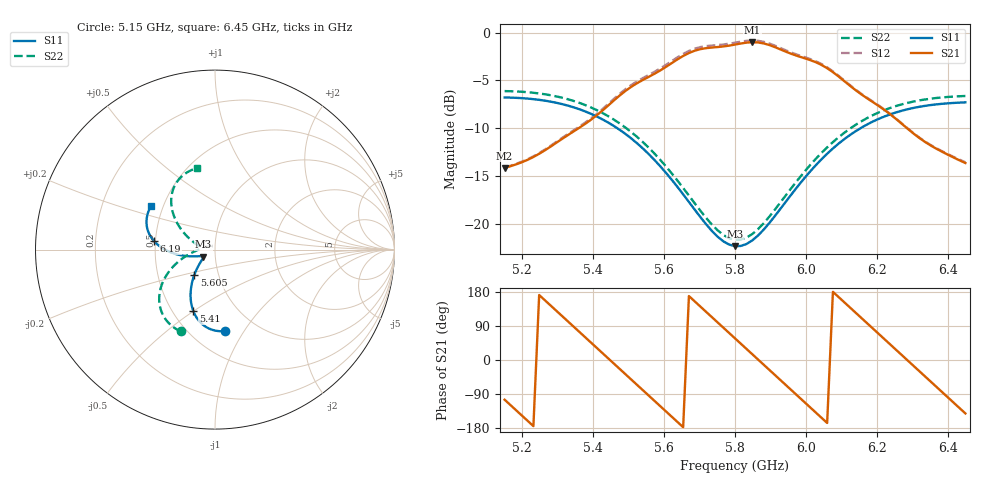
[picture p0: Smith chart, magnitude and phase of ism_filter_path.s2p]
! Generated RF sample for VNA Touchstone diagnostics
! Source: local sample generator
# GHZ S RI R 50
! freq S11 S12 S21 S22
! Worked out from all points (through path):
!   81 points, 5.15 GHz to 6.45 GHz, reference 50 ohm
!   highest |S21| = -1.00 dB at 5.849 GHz (marker M1); lowest = -14.2 dB at 5.15 GHz (marker M2)
!   group delay of S21, straight-line fit = 2.39 ns
!   lowest |S11| = -22.4 dB at 5.8 GHz (marker M3), VSWR 1.16, Z = 43.8 - j3.49 ohm
!   |S11| at or under -10 dB: 5.467 GHz to 6.155 GHz (687.2 MHz wide, 11.8 % of centre)
!   |S22| runs from -21.7 to -6.1 dB; largest |S21 - S12| = 1.1
!   S11 on the Smith chart (normalised r, x): 5.15 GHz: 0.72, -0.83; 5.41 GHz: 0.63, -0.50; 5.605 GHz: 0.76, -0.23; 6.19 GHz: 0.49, +0.05; 6.45 GHz: 0.43, +0.25
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5.15  0.0548 -0.4543  -0.0498 -0.1891  0.1487 -0.1288  -0.191 -0.4558
5.26375  -0.0352 -0.439  -0.2237 0.0923  -0.1791 -0.1662  -0.2757 -0.3875
5.3775  -0.1069 -0.3716  0.1671 0.2882  -0.2019 0.2715  -0.311 -0.2787
5.41  -0.1204 -0.3433  0.3132 0.1956  -0.0597 0.3709  -0.3086 -0.2432
5.49125  -0.1361 -0.2612  0.3919 -0.3038  0.4368 0.2563  -0.2777 -0.155
5.54  -0.1327 -0.2089  0.1016 -0.5561  0.5682 -0.1088  -0.2447 -0.1076
5.58875  -0.1213 -0.159  -0.3311 -0.5403  0.399 -0.5122  -0.2051 -0.0678
5.605  -0.1162 -0.1435  -0.4716 -0.4641  0.2777 -0.6187  -0.1912 -0.0566
5.65375  -0.0986 -0.1025  -0.7545 -0.0353  -0.2274 -0.7405  -0.1508 -0.0294
5.68625  -0.0868 -0.0804  -0.7278 0.3429  -0.579 -0.5878  -0.1267 -0.0165
5.735  -0.0721 -0.0562  -0.3255 0.7702  -0.8548 -0.0626  -0.0986 -0.0034
5.8  -0.065 -0.0396  0.4706 0.7274  -0.5603 0.687  -0.0819 0.00756
5.84875  -0.073 -0.0363  0.8601 0.2343  0.0324 0.9099  -0.0866 0.0164
5.88125  -0.0856 -0.0366  0.8569 -0.1927  0.4416 0.7793  -0.0974 0.0249
5.93  -0.1146 -0.0378  0.4727 -0.6635  0.7826 0.2728  -0.1227 0.0441
5.97875  -0.1539 -0.0365  -0.0838 -0.7478  0.7078 -0.2863  -0.1545 0.0728
6.0275  -0.1995 -0.0296  -0.5228 -0.4666  0.3191 -0.6334  -0.1874 0.1111
6.10875  -0.2772 -0.00115  -0.4915 0.2616  -0.3757 -0.4172  -0.2302 0.1914
6.19  -0.3398 0.0475  0.0585 0.4277  -0.4061 0.1538  -0.2441 0.2788
6.23875  -0.3645 0.0833  0.284 0.2412  -0.1759 0.3306  -0.236 0.3277
6.33625  -0.3817 0.1596  0.1945 -0.1838  0.219 0.1564  -0.1879 0.4053
6.45  -0.357 0.2423  -0.1614 -0.1305  0.1025 -0.1827  -0.0983 0.4555
